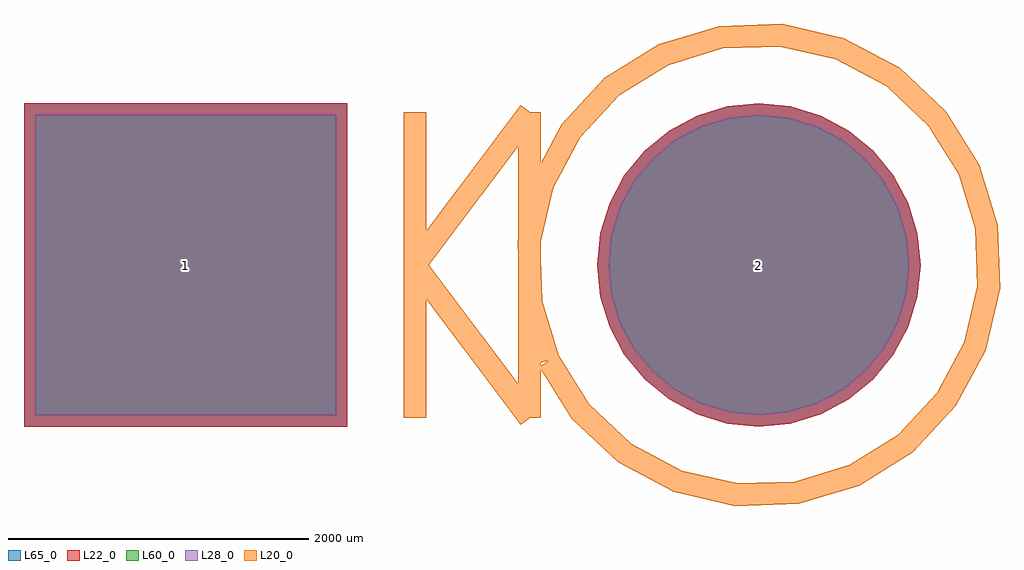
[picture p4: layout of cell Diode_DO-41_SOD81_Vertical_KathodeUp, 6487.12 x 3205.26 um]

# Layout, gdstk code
import gdstk
lib = gdstk.Library(unit=1e-6, precision=1e-09)
def R(c, l, rs):  # rectangles x0, y0, x1, y1
    for r in rs: c.add(gdstk.rectangle(r[:2], r[2:], *l))
def P(c, l, *ps):  # polygons
    for p in ps: c.add(gdstk.Polygon(p, *l))
L20_0 = (20, 0)
L22_0 = (22, 0)
L28_0 = (28, 0)
L60_0 = (60, 0)
L65_0 = (65, 0)

diode_do_41_sod81_vertic = lib.new_cell('Diode_DO-41_SOD81_Vertical_KathodeUp')
R(diode_do_41_sod81_vertic, L22_0, [(-1074.49,-1074.49,1074.49,1074.49)])
P(diode_do_41_sod81_vertic, L22_0, [(4884.49,0),(4863.844,209.623),(4802.699,411.19),(4703.406,596.955),(4569.779,759.779),(4406.955,893.406),(4221.19,992.699),(4019.623,1053.844),(3810,1074.49),(3600.377,1053.844),(3398.81,992.699),(3213.045,893.406),(3050.221,759.779),(2916.594,596.955),(2817.301,411.19),(2756.156,209.623),(2735.51,0),(2756.156,-209.623),(2817.301,-411.19),(2916.594,-596.955),(3050.221,-759.779),(3213.045,-893.406),(3398.81,-992.699),(3600.377,-1053.844),(3810,-1074.49),(4019.623,-1053.844),(4221.19,-992.699),(4406.955,-893.406),(4569.779,-759.779),(4703.406,-596.955),(4802.699,-411.19),(4863.844,-209.623)])
R(diode_do_41_sod81_vertic, L28_0, [(-999.49,-999.49,999.49,999.49)])
P(diode_do_41_sod81_vertic, L28_0, [(4809.49,0),(4790.285,194.991),(4733.408,382.488),(4641.046,555.287),(4516.746,706.746),(4365.287,831.046),(4192.488,923.408),(4004.991,980.285),(3810,999.49),(3615.009,980.285),(3427.512,923.408),(3254.713,831.046),(3103.254,706.746),(2978.954,555.287),(2886.592,382.488),(2829.715,194.991),(2810.51,0),(2829.715,-194.991),(2886.592,-382.488),(2978.954,-555.287),(3103.254,-706.746),(3254.713,-831.046),(3427.512,-923.408),(3615.009,-980.285),(3810,-999.49),(4004.991,-980.285),(4192.488,-923.408),(4365.287,-831.046),(4516.746,-706.746),(4641.046,-555.287),(4733.408,-382.488),(4790.285,-194.991)])
R(diode_do_41_sod81_vertic, L60_0, [(-999.49,-999.49,999.49,999.49)])
P(diode_do_41_sod81_vertic, L60_0, [(4809.49,0),(4790.285,194.991),(4733.408,382.488),(4641.046,555.287),(4516.746,706.746),(4365.287,831.046),(4192.488,923.408),(4004.991,980.285),(3810,999.49),(3615.009,980.285),(3427.512,923.408),(3254.713,831.046),(3103.254,706.746),(2978.954,555.287),(2886.592,382.488),(2829.715,194.991),(2810.51,0),(2829.715,-194.991),(2886.592,-382.488),(2978.954,-555.287),(3103.254,-706.746),(3254.713,-831.046),(3427.512,-923.408),(3615.009,-980.285),(3810,-999.49),(4004.991,-980.285),(4192.488,-923.408),(4365.287,-831.046),(4516.746,-706.746),(4641.046,-555.287),(4733.408,-382.488),(4790.285,-194.991)])
R(diode_do_41_sod81_vertic, L65_0, [(-1074.49,-1074.49,1074.49,1074.49)])
P(diode_do_41_sod81_vertic, L65_0, [(4884.49,0),(4863.844,209.623),(4802.699,411.19),(4703.406,596.955),(4569.779,759.779),(4406.955,893.406),(4221.19,992.699),(4019.623,1053.844),(3810,1074.49),(3600.377,1053.844),(3398.81,992.699),(3213.045,893.406),(3050.221,759.779),(2916.594,596.955),(2817.301,411.19),(2756.156,209.623),(2735.51,0),(2756.156,-209.623),(2817.301,-411.19),(2916.594,-596.955),(3050.221,-759.779),(3213.045,-893.406),(3398.81,-992.699),(3600.377,-1053.844),(3810,-1074.49),(4019.623,-1053.844),(4221.19,-992.699),(4406.955,-893.406),(4569.779,-759.779),(4703.406,-596.955),(4802.699,-411.19),(4863.844,-209.623)])
diode_do_41_sod81_vertic.add(gdstk.FlexPath([(1524,1016),(1524,-1016)], 149.998, ends="flush", simple_path=True, layer=20, datatype=0))  # L20_0
diode_do_41_sod81_vertic.add(gdstk.FlexPath([(2286,1016),(1524,0)], 149.998, ends="flush", simple_path=True, layer=20, datatype=0))  # L20_0
diode_do_41_sod81_vertic.add(gdstk.FlexPath([(1524,0),(2286,-1016)], 149.998, ends="flush", simple_path=True, layer=20, datatype=0))  # L20_0
diode_do_41_sod81_vertic.add(gdstk.FlexPath([(2286,1016),(2286,-1016)], 149.998, ends="flush", simple_path=True, layer=20, datatype=0))  # L20_0
diode_do_41_sod81_vertic.add(gdstk.FlexPath([(2413,-635),(2624.952,-974.933),(2917.663,-1248.426),(3271.185,-1436.841),(3661.426,-1527.337),(4061.793,-1513.748),(4445,-1397),(4784.933,-1185.048),(5058.426,-892.337),(5246.841,-538.815),(5337.337,-148.574),(5323.748,251.793),(5207,635),(4995.048,974.933),(4702.337,1248.426),(4348.815,1436.841),(3958.574,1527.337),(3558.207,1513.748),(3175,1397),(2835.067,1185.048),(2561.574,892.337),(2373.159,538.815),(2282.663,148.574),(2296.252,-251.793),(2413,-635)], 149.998, ends="flush", simple_path=True, layer=20, datatype=0))  # L20_0
diode_do_41_sod81_vertic.add(gdstk.Label('1', (0,0), layer=28, texttype=0))
diode_do_41_sod81_vertic.add(gdstk.Label('2', (3810,0), layer=28, texttype=0))
diode_do_41_sod81_vertic.add(gdstk.Label('type', (0,2700), layer=9, texttype=0))
diode_do_41_sod81_vertic.add(gdstk.Label('devicename', (271.78,-3175), layer=9, texttype=0))

lib.write_gds('Diode_DO-41_SOD81_Vertical_KathodeUp.gds')
